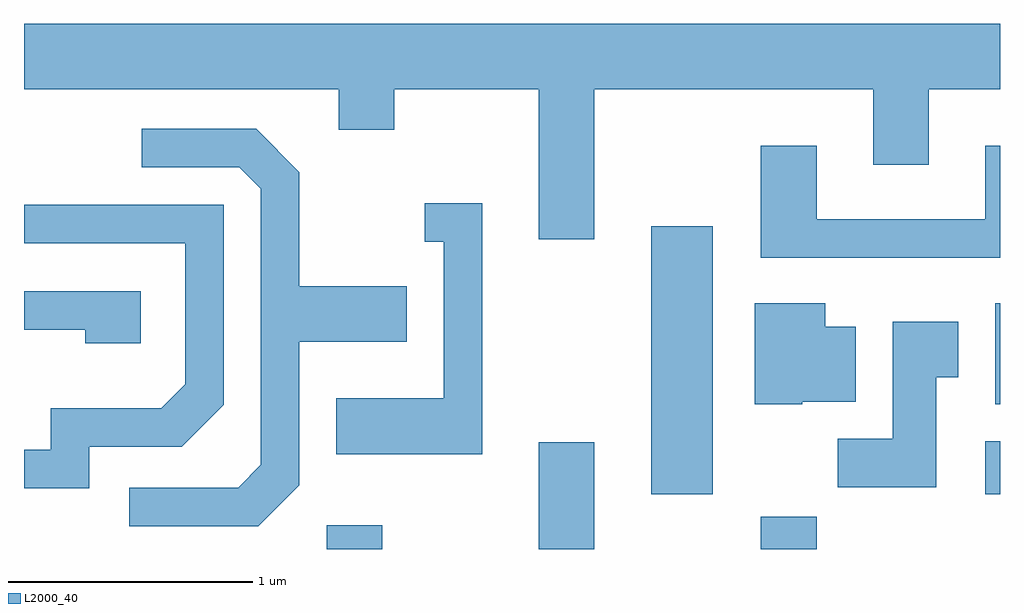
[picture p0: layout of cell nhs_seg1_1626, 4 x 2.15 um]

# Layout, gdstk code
import gdstk
lib = gdstk.Library(unit=1e-6, precision=1e-09)
def R(c, l, rs):  # rectangles x0, y0, x1, y1
    for r in rs: c.add(gdstk.rectangle(r[:2], r[2:], *l))
def P(c, l, *ps):  # polygons
    for p in ps: c.add(gdstk.Polygon(p, *l))
L2000_40 = (2000, 40)

nhs_seg1_1626 = lib.new_cell('nhs_seg1_1626')
R(nhs_seg1_1626, L2000_40, [(236.851,877.712,237.079,877.809), (237.721,877.712,237.949,878.149), (238.631,877.712,238.859,877.844), (238.181,877.936,238.434,879.034), (239.551,877.936,239.611,878.154), (239.591,878.306,239.611,878.719)])
P(nhs_seg1_1626, L2000_40, [(235.611,879.596),(236.901,879.596),(236.901,879.431),(237.129,879.431),(237.129,879.596),(237.721,879.596),(237.721,878.981),(237.949,878.981),(237.949,879.596),(239.091,879.596),(239.091,879.286),(239.319,879.286),(239.319,879.596),(239.611,879.596),(239.611,879.864),(235.611,879.864)],
  [(236.739,877.974),(236.739,878.561),(237.179,878.561),(237.179,878.789),(236.739,878.789),(236.739,879.257),(236.562,879.434),(236.093,879.434),(236.093,879.276),(236.494,879.276),(236.581,879.189),(236.581,878.057),(236.489,877.964),(236.043,877.964),(236.043,877.806),(236.572,877.806)],
  [(239.611,879.364),(239.551,879.364),(239.551,879.064),(238.859,879.064),(238.859,879.364),(238.631,879.364),(238.631,878.906),(239.611,878.906)],
  [(237.489,879.129),(237.253,879.129),(237.253,878.971),(237.331,878.971),(237.331,878.329),(236.891,878.329),(236.891,878.101),(237.489,878.101)],
  [(235.879,878.131),(236.257,878.131),(236.429,878.304),(236.429,879.124),(235.611,879.124),(235.611,878.966),(236.271,878.966),(236.271,878.387),(236.174,878.289),(235.721,878.289),(235.721,878.119),(235.611,878.119),(235.611,877.961),(235.879,877.961)],
  [(236.089,878.769),(235.611,878.769),(235.611,878.611),(235.861,878.611),(235.861,878.556),(236.089,878.556)],
  [(238.8,878.316),(239.019,878.316),(239.019,878.624),(238.894,878.624),(238.894,878.719),(238.606,878.719),(238.606,878.306),(238.8,878.306)],
  [(239.349,878.416),(239.439,878.416),(239.439,878.644),(239.171,878.644),(239.171,878.164),(238.946,878.164),(238.946,877.966),(239.349,877.966)])

lib.write_gds('nhs_seg1_1626.gds')
